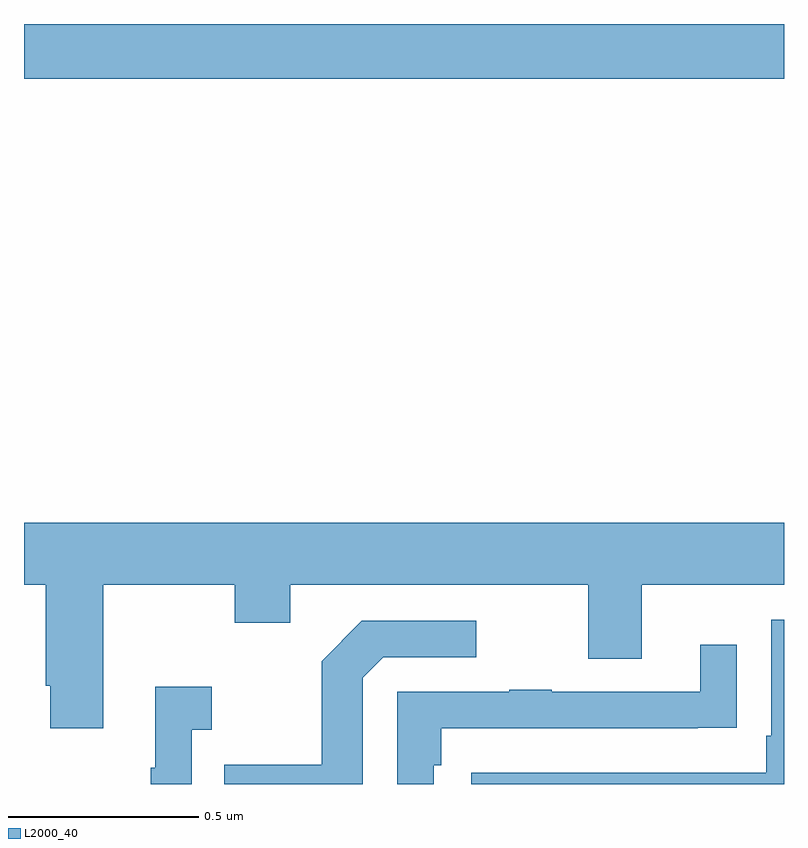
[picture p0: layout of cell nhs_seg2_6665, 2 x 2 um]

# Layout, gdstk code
import gdstk
lib = gdstk.Library(unit=1e-6, precision=1e-09)
def R(c, l, rs):  # rectangles x0, y0, x1, y1
    for r in rs: c.add(gdstk.rectangle(r[:2], r[2:], *l))
def P(c, l, *ps):  # polygons
    for p in ps: c.add(gdstk.Polygon(p, *l))
L2000_40 = (2000, 40)

nhs_seg2_6665 = lib.new_cell('nhs_seg2_6665')
R(nhs_seg2_6665, L2000_40, [(194,627.656,196,627.8)])
P(nhs_seg2_6665, L2000_40, [(194.209,626.324),(194.554,626.324),(194.554,626.225),(194.701,626.225),(194.701,626.324),(195.485,626.324),(195.485,626.13),(195.625,626.13),(195.625,626.324),(196,626.324),(196,626.488),(194,626.488),(194,626.324),(194.057,626.324),(194.057,626.059),(194.069,626.059),(194.069,625.947),(194.209,625.947)],
  [(196,626.232),(195.966,626.232),(195.966,625.927),(195.953,625.927),(195.953,625.83),(195.177,625.83),(195.177,625.8),(196,625.8)],
  [(194.892,626.079),(194.946,626.133),(195.19,626.133),(195.19,626.229),(194.889,626.229),(194.784,626.123),(194.784,625.851),(194.527,625.851),(194.527,625.8),(194.892,625.8)],
  [(195.078,625.85),(195.098,625.85),(195.098,625.947),(195.773,625.947),(195.773,625.948),(195.875,625.948),(195.875,626.167),(195.779,626.167),(195.779,626.043),(195.389,626.043),(195.389,626.048),(195.277,626.048),(195.277,626.043),(194.982,626.043),(194.982,625.8),(195.078,625.8)],
  [(194.442,625.943),(194.494,625.943),(194.494,626.056),(194.345,626.056),(194.345,625.843),(194.334,625.843),(194.334,625.8),(194.442,625.8)])

lib.write_gds('nhs_seg2_6665.gds')
